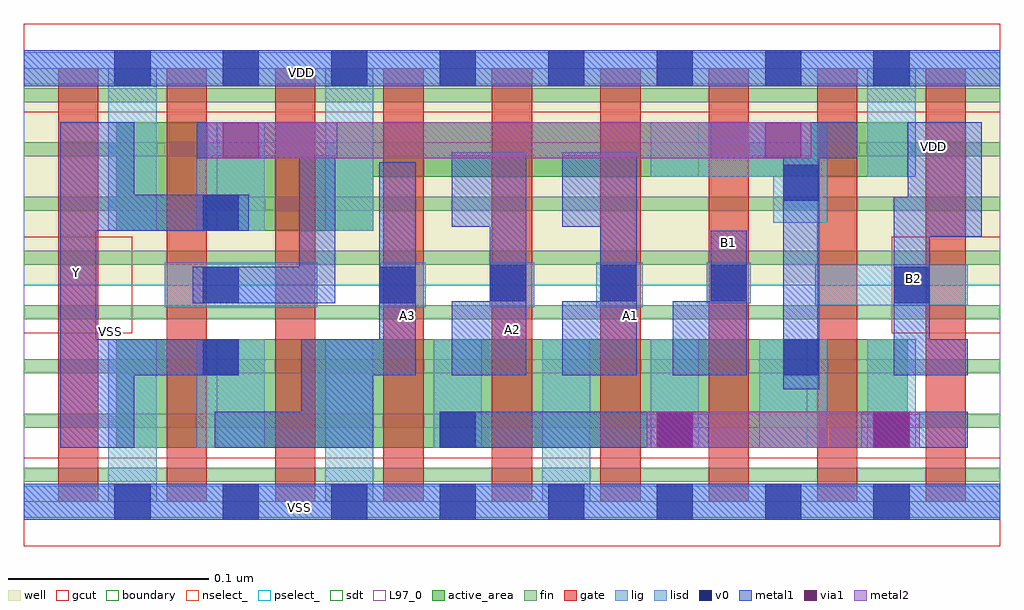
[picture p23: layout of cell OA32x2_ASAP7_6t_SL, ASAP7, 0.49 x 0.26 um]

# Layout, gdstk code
import gdstk
lib = gdstk.Library(unit=1e-6, precision=2.5e-10)
def R(c, l, rs):  # rectangles x0, y0, x1, y1
    for r in rs: c.add(gdstk.rectangle(r[:2], r[2:], *l))
def A(c, l, x, y, w, h, nx, ny, dx, dy):  # array of equal rectangles
    R(c, l, [(x+i*dx, y+j*dy, x+i*dx+w, y+j*dy+h) for i in range(nx) for j in range(ny)])
def P(c, l, *ps):  # polygons
    for p in ps: c.add(gdstk.Polygon(p, *l))
well = (1, 0)
fin = (2, 0)
gate = (7, 0)
gcut = (10, 0)
active_area = (11, 0)
nselect_ = (12, 0)
pselect_ = (13, 0)
lig = (16, 0)
lisd = (17, 0)
v0 = (18, 0)
metal1 = (19, 0)
metal2 = (20, 0)
via1 = (21, 0)
sdt = (88, 0)
L97_0 = (97, 0)
boundary = (100, 0)

oa32x2_asap7_6t_sl = lib.new_cell('OA32x2_ASAP7_6t_SL')
R(oa32x2_asap7_6t_sl, well, [(0,0.108,0.486,0.216)])
A(oa32x2_asap7_6t_sl, fin, 0, 0.01, 0.486, 0.007, 1, 8, 0, 0.027)
A(oa32x2_asap7_6t_sl, gate, 0.017, 0, 0.02, 0.216, 9, 1, 0.054, 0)
R(oa32x2_asap7_6t_sl, gcut, [(0,-0.022,0.486,0.022), (0,0.084,0.054,0.132), (0.432,0.084,0.486,0.132), (0,0.194,0.486,0.238)])
R(oa32x2_asap7_6t_sl, active_area, [(0.046,0.027,0.44,0.081)])
P(oa32x2_asap7_6t_sl, active_area, [(0.44,0.189),(0.046,0.189),(0.046,0.135),(0.174,0.135),(0.174,0.162),(0.44,0.162)])
R(oa32x2_asap7_6t_sl, nselect_, [(0,0,0.486,0.108)])
R(oa32x2_asap7_6t_sl, pselect_, [(0,0.108,0.486,0.216)])
R(oa32x2_asap7_6t_sl, lig, [(0,-0.008,0.486,0.008), (0.07,0.097,0.146,0.119), (0.177,0.097,0.2,0.119), (0.232,0.097,0.254,0.119), (0.285,0.097,0.308,0.119), (0.394,0.098,0.47,0.118), (0.34,0.099,0.362,0.119), (0,0.208,0.486,0.224)])
A(oa32x2_asap7_6t_sl, lisd, 0.042, 0, 0.024, 0.081, 3, 1, 0.108, 0)
A(oa32x2_asap7_6t_sl, lisd, 0.204, 0.027, 0.024, 0.054, 3, 1, 0.108, 0)
R(oa32x2_asap7_6t_sl, lisd, [(0.086,0.027,0.12,0.081), (0.366,0.027,0.4,0.081), (0.042,0.135,0.066,0.216), (0.086,0.135,0.12,0.189), (0.15,0.135,0.174,0.216), (0.42,0.162,0.444,0.216)])
P(oa32x2_asap7_6t_sl, lisd, [(0.4,0.189),(0.312,0.189),(0.312,0.162),(0.373,0.162),(0.373,0.139),(0.4,0.139)])
A(oa32x2_asap7_6t_sl, v0, 0.045, -0.009, 0.018, 0.018, 8, 2, 0.054, 0.216)
A(oa32x2_asap7_6t_sl, v0, 0.207, 0.027, 0.018, 0.018, 3, 1, 0.108, 0)
A(oa32x2_asap7_6t_sl, v0, 0.089, 0.063, 0.018, 0.018, 1, 3, 0, 0.036)
A(oa32x2_asap7_6t_sl, v0, 0.232, 0.1, 0.018, 0.018, 3, 1, 0.055, 0)
R(oa32x2_asap7_6t_sl, v0, [(0.378,0.063,0.396,0.081), (0.177,0.099,0.195,0.117), (0.433,0.099,0.451,0.117), (0.378,0.15,0.396,0.168)])
R(oa32x2_asap7_6t_sl, metal1, [(0,-0.009,0.486,0.009), (0.207,0.027,0.341,0.045), (0.417,0.027,0.47,0.045), (0.342,0.171,0.381,0.189), (0,0.207,0.486,0.225)])
P(oa32x2_asap7_6t_sl, metal1, [(0.477,0.189),(0.44,0.189),(0.44,0.152),(0.433,0.152),(0.433,0.063),(0.47,0.063),(0.47,0.081),(0.451,0.081),(0.451,0.132),(0.477,0.132)],
  [(0.36,0.135),(0.342,0.135),(0.342,0.1),(0.323,0.1),(0.323,0.063),(0.36,0.063)],
  [(0.415,0.189),(0.378,0.189),(0.378,0.056),(0.396,0.056),(0.396,0.171),(0.415,0.171)],
  [(0.305,0.174),(0.268,0.174),(0.268,0.137),(0.287,0.137),(0.287,0.1),(0.268,0.1),(0.268,0.063),(0.305,0.063)],
  [(0.25,0.174),(0.213,0.174),(0.213,0.137),(0.232,0.137),(0.232,0.1),(0.213,0.1),(0.213,0.063),(0.25,0.063)],
  [(0.195,0.169),(0.177,0.169),(0.177,0.081),(0.138,0.081),(0.138,0.045),(0.095,0.045),(0.095,0.027),(0.174,0.027),(0.174,0.063),(0.195,0.063)],
  [(0.156,0.189),(0.086,0.189),(0.086,0.171),(0.137,0.171),(0.137,0.117),(0.084,0.117),(0.084,0.099),(0.155,0.099),(0.155,0.171),(0.156,0.171)],
  [(0.107,0.081),(0.036,0.081),(0.036,0.135),(0.112,0.135),(0.112,0.153),(0.055,0.153),(0.055,0.189),(0.018,0.189),(0.018,0.027),(0.055,0.027),(0.055,0.063),(0.107,0.063)])
R(oa32x2_asap7_6t_sl, metal2, [(0.31,0.027,0.446,0.045), (0.091,0.171,0.392,0.189)])
R(oa32x2_asap7_6t_sl, via1, [(0.315,0.027,0.333,0.045), (0.423,0.027,0.441,0.045), (0.099,0.171,0.117,0.189), (0.369,0.171,0.387,0.189)])
A(oa32x2_asap7_6t_sl, sdt, 0.042, 0.027, 0.024, 0.054, 8, 1, 0.054, 0)
A(oa32x2_asap7_6t_sl, sdt, 0.042, 0.135, 0.024, 0.054, 3, 1, 0.054, 0)
R(oa32x2_asap7_6t_sl, sdt, [(0.312,0.162,0.336,0.189), (0.42,0.162,0.444,0.189)])
R(oa32x2_asap7_6t_sl, L97_0, [(0,0,0.486,0.216)])
R(oa32x2_asap7_6t_sl, boundary, [(0,0,0.486,0.216)])
oa32x2_asap7_6t_sl.add(gdstk.Label('VSS', (0.043,0.085), layer=3, texttype=251))
oa32x2_asap7_6t_sl.add(gdstk.Label('VDD', (0.138,0.214), layer=19, texttype=251))
oa32x2_asap7_6t_sl.add(gdstk.Label('Y', (0.026,0.114), layer=19, texttype=251))
oa32x2_asap7_6t_sl.add(gdstk.Label('B2', (0.443,0.111), layer=19, texttype=251))
oa32x2_asap7_6t_sl.add(gdstk.Label('B1', (0.351,0.129), layer=19, texttype=251))
oa32x2_asap7_6t_sl.add(gdstk.Label('A3', (0.191,0.093), layer=19, texttype=251))
oa32x2_asap7_6t_sl.add(gdstk.Label('A2', (0.243,0.086), layer=19, texttype=251))
oa32x2_asap7_6t_sl.add(gdstk.Label('A1', (0.302,0.093), layer=19, texttype=251))
oa32x2_asap7_6t_sl.add(gdstk.Label('VSS', (0.137,-0.003), layer=19, texttype=251))
oa32x2_asap7_6t_sl.add(gdstk.Label('VDD', (0.453,0.177), layer=1, texttype=251))

lib.write_gds('OA32x2_ASAP7_6t_SL.gds')
